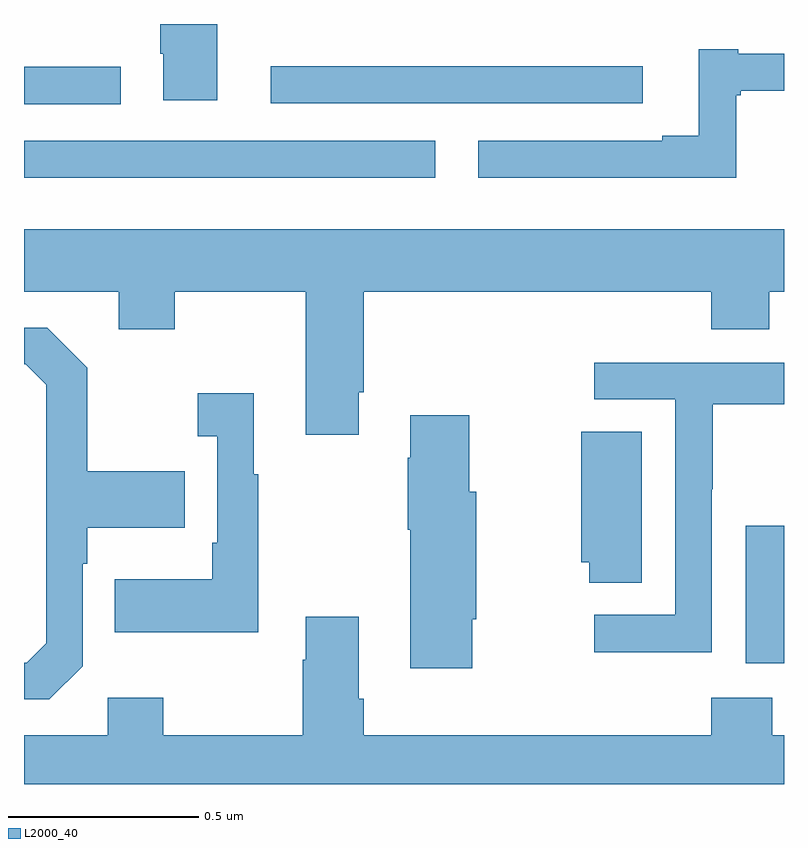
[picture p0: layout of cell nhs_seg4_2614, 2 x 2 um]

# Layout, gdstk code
import gdstk
lib = gdstk.Library(unit=1e-6, precision=1e-09)
def R(c, l, rs):  # rectangles x0, y0, x1, y1
    for r in rs: c.add(gdstk.rectangle(r[:2], r[2:], *l))
def P(c, l, *ps):  # polygons
    for p in ps: c.add(gdstk.Polygon(p, *l))
L2000_40 = (2000, 40)

nhs_seg4_2614 = lib.new_cell('nhs_seg4_2614')
R(nhs_seg4_2614, L2000_40, [(144.899,753.218,145,753.579), (143,754.496,144.082,754.593), (143,754.689,143.254,754.787), (143.649,754.692,144.628,754.789)])
P(nhs_seg4_2614, L2000_40, [(143.509,754.9),(143.359,754.9),(143.359,754.822),(143.366,754.822),(143.366,754.7),(143.509,754.7)],
  [(144.874,754.713),(144.886,754.713),(144.886,754.724),(145,754.724),(145,754.822),(144.88,754.822),(144.88,754.834),(144.776,754.834),(144.776,754.606),(144.68,754.606),(144.68,754.593),(144.195,754.593),(144.195,754.496),(144.874,754.496)],
  [(143,754.196),(143.249,754.196),(143.249,754.097),(143.397,754.097),(143.397,754.196),(143.741,754.196),(143.741,753.819),(143.881,753.819),(143.881,753.931),(143.894,753.931),(143.894,754.196),(144.809,754.196),(144.809,754.097),(144.961,754.097),(144.961,754.196),(145,754.196),(145,754.36),(143,754.36)],
  [(143.154,753.21),(143.154,753.479),(143.167,753.479),(143.167,753.575),(143.423,753.575),(143.423,753.723),(143.167,753.723),(143.167,753.995),(143.061,754.101),(143,754.101),(143,754.005),(143.004,754.005),(143.058,753.951),(143.058,753.27),(143.007,753.219),(143,753.219),(143,753.123),(143.067,753.123)],
  [(144.714,753.912),(144.714,753.345),(144.501,753.345),(144.501,753.247),(144.81,753.247),(144.81,753.676),(144.813,753.676),(144.813,753.9),(145,753.9),(145,754.008),(144.501,754.008),(144.501,753.912)],
  [(143.617,753.715),(143.605,753.715),(143.605,753.928),(143.457,753.928),(143.457,753.815),(143.508,753.815),(143.508,753.535),(143.496,753.535),(143.496,753.439),(143.239,753.439),(143.239,753.299),(143.617,753.299)],
  [(144.18,753.333),(144.19,753.333),(144.19,753.669),(144.172,753.669),(144.172,753.871),(144.017,753.871),(144.017,753.758),(144.01,753.758),(144.01,753.569),(144.017,753.569),(144.017,753.204),(144.18,753.204)],
  [(144.625,753.827),(144.467,753.827),(144.467,753.483),(144.487,753.483),(144.487,753.43),(144.625,753.43)],
  [(145,753.028),(144.969,753.028),(144.969,753.127),(144.809,753.127),(144.809,753.028),(143.894,753.028),(143.894,753.124),(143.881,753.124),(143.881,753.34),(143.741,753.34),(143.741,753.227),(143.734,753.227),(143.734,753.028),(143.367,753.028),(143.367,753.127),(143.22,753.127),(143.22,753.028),(143,753.028),(143,752.9),(145,752.9)])

lib.write_gds('nhs_seg4_2614.gds')
